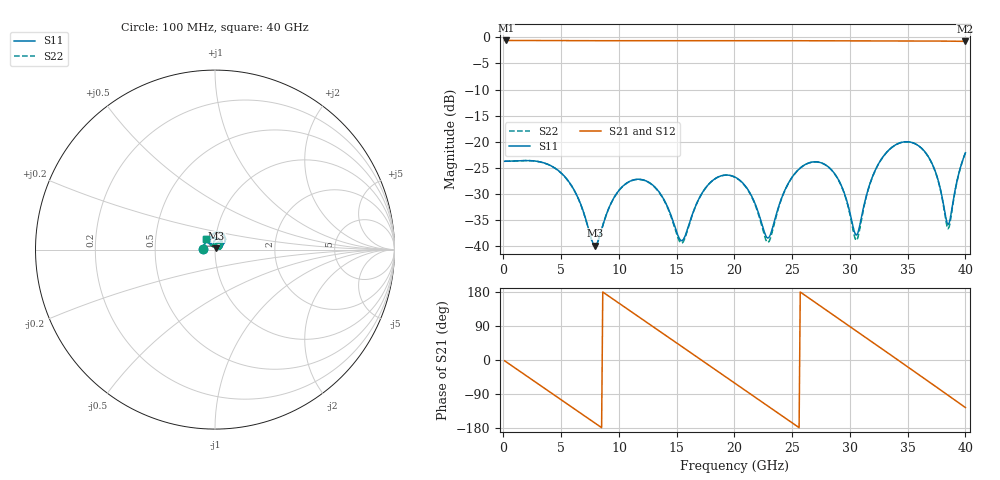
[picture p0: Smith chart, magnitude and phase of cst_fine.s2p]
! thru_BV_vna_rf_hblb1_out: 2×thru In2.Cu, 8 mm
! stackup: as the board case
! ports: 1 near, 2 far
! CST Studio Suite 2025.5 Release from 2025-05-30, time domain (FIT, hexahedral, PBA), 503100 mesh cells, 81 s
! mesh: {'lpw': 30.0, 'lpb': 30.0, 'minstep': 0.0, 'ratio': 20}; ports: port 1 (face); port 2 (face)
! interpolated from CST's 1001 samples to the case grid
# Hz S RI R 50
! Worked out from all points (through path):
!   400 points, 100 MHz to 40 GHz, reference 50 ohm
!   highest |S21| = -0.60 dB at 200 MHz (marker M1); lowest = -0.8 dB at 40 GHz (marker M2)
!   group delay of S21, straight-line fit = 58.6 ps
!   lowest |S11| = -39.9 dB at 7.9 GHz (marker M3), VSWR 1.02, Z = 50.8 + j0.676 ohm
!   |S11| at or under -10 dB: start of sweep to end of sweep
!   |S22| runs from -40.0 to -20.0 dB; largest |S21 - S12| = 4.1e-07
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1e8  -0.0649 0.00392  0.9328 -0.0343  0.9328 -0.0343  -0.0649 0.00391
2e8  -0.0646 0.00782  0.9309 -0.0685  0.9309 -0.0685  -0.0646 0.00781
3.7e9  0.0262 0.0559  0.1962 -0.9105  0.1962 -0.9105  0.0262 0.0558
6.8e9  0.0234 0.00181  -0.7408 -0.5605  -0.7408 -0.5605  0.0232 0.00166
7.9e9  0.00767 0.00665  -0.9008 -0.2254  -0.9008 -0.2254  0.00753 0.0066
1.04e10  0.0152 0.0349  -0.7279 0.5768  -0.7279 0.5768  0.0154 0.0348
1.34e10  0.0324 0.0101  0.1844 0.9109  0.1844 0.9109  0.0322 0.00948
1.54e10  0.00779 0.00817  0.7472 0.5523  0.7472 0.5523  0.00731 0.00779
1.68e10  0.00145 0.0266  0.9217 0.1133  0.9217 0.1133  0.00111 0.0265
1.84e10  0.0172 0.0414  0.8295 -0.4164  0.8295 -0.4164  0.0173 0.0413
2.01e10  0.035 0.0293  0.4293 -0.8225  0.4293 -0.8225  0.0352 0.0287
2.29e10  0.00553 0.0106  -0.4843 -0.7917  -0.4843 -0.7917  0.00494 0.00966
2.49e10  -0.00597 0.0438  -0.8908 -0.2604  -0.8908 -0.2604  -0.00677 0.0435
2.67e10  0.0227 0.0597  -0.8612 0.3443  -0.8612 0.3443  0.0225 0.0596
2.89e10  0.0378 0.0253  -0.3412 0.8609  -0.3412 0.8609  0.038 0.0244
3.06e10  0.00216 0.0126  0.2299 0.8959  0.2299 0.8959  0.00177 0.0113
3.18e10  -0.0225 0.0351  0.5923 0.7097  0.5923 0.7097  -0.0235 0.034
3.34e10  -0.0146 0.0827  0.8878 0.257  0.8878 0.257  -0.0158 0.0823
3.5e10  0.033 0.0945  0.8788 -0.2854  0.8788 -0.2854  0.0324 0.0946
3.66e10  0.057 0.0523  0.5648 -0.7299  0.5648 -0.7299  0.0571 0.0519
3.85e10  0.00257 0.0159  -0.0499 -0.9181  -0.0499 -0.9181  0.00239 0.0145
4e10  -0.0498 0.0605  -0.5303 -0.7458  -0.5303 -0.7458  -0.0509 0.059
